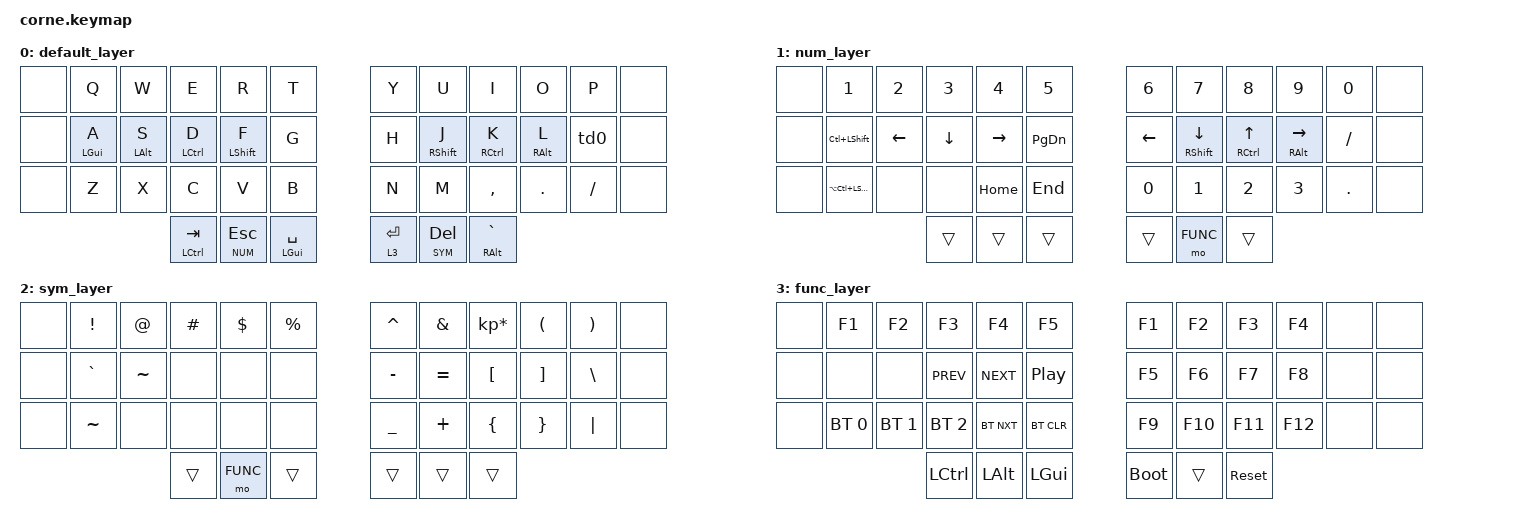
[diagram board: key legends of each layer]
/*
 * Copyright (c) 2020 The ZMK Contributors
 *
 * SPDX-License-Identifier: MIT
 */

#include <behaviors.dtsi>
#include <dt-bindings/zmk/bt.h>
#include <dt-bindings/zmk/keys.h>

// LAYERS

#define DEFAULT 0
#define NUM     1
#define SYM     2
#define FUNC    3

// MACROS

#define SUPER LC(LSHIFT)
#define SUPER2 LA(LC(LSHIFT))

&mt {
    tapping-term-ms = <200>;
    flavor = "tap-preferred";
};

/ {
    behaviors {
        hm: homerow_mods {
            compatible = "zmk,behavior-hold-tap";
            label = "HOMEROW_MODS";
            #binding-cells = <2>;
            tapping-term-ms = <200>;
            quick-tap-ms = <0>;
            flavor = "tap-preferred";
            bindings = <&kp>, <&kp>;
        };

        td0: tap_dance_0 {
            compatible = "zmk,behavior-tap-dance";
            label = "TAP_DANCE_0";
            #binding-cells = <0>;
            tapping-term-ms = <200>;
            bindings = <&hm RGUI SEMI>, <&kp SQT>;
        };

        td1: tap_dance_1 {
            compatible = "zmk,behavior-tap-dance";
            label = "TAP_DANCE_1";
            #binding-cells = <0>;
            tapping-term-ms = <200>;
            bindings = <&mt LCTRL TAB>, <&kp ESC>;
        };
    };

    combos {
        compatible = "zmk,combos";

        combo_cword {
            timeout-ms = <50>;
            key-positions = <16 19>;
            bindings = <&caps_word>;
        };

        combo_vimwq {
            timeout-ms = <50>;
            key-positions = <1 2>;
            bindings = <&vim_quit>;
        };
    };

    macros {
        vim_quit: vim_quit {
            label = "ZM_vim_quit";
            compatible = "zmk,behavior-macro";
            #binding-cells = <0>;
            bindings = <&macro_tap>, <&kp ESC &kp COLON &kp W &kp Q>;
        };
    };

    keymap {
        compatible = "zmk,keymap";

        default_layer {
            bindings = <
&none  &kp Q       &kp W       &kp E          &kp R         &kp T             &kp Y      &kp U         &kp I           &kp O       &kp P     &none
&none  &hm LGUI A  &hm LALT S  &hm LCTRL D    &hm LSHIFT F  &kp G             &kp H      &hm RSHIFT J  &hm RCTRL K     &hm RALT L  &td0      &none
&none  &kp Z       &kp X       &kp C          &kp V         &kp B             &kp N      &kp M         &kp COMMA       &kp DOT     &kp FSLH  &none
                               &mt LCTRL TAB  &lt NUM ESC   &mt LGUI SPACE    &lt 3 RET  &lt SYM DEL   &mt RALT GRAVE
            >;
        };

        num_layer {
            bindings = <
&none  &kp NUMBER_1  &kp NUMBER_2  &kp NUMBER_3  &kp NUMBER_4  &kp N5       &kp NUMBER_6    &kp N7                &kp N8        &kp N9               &kp N0     &none
&none  &kp SUPER     &kp LEFT      &kp DOWN      &kp RIGHT     &kp PG_DN    &kp LEFT_ARROW  &hm RSHFT DOWN_ARROW  &hm RCTRL UP  &hm RIGHT_ALT RIGHT  &kp SLASH  &none
&none  &kp SUPER2    &none         &none         &kp HOME      &kp END      &kp N0          &kp N1                &kp N2        &kp N3               &kp DOT    &none
                                   &trans        &trans        &trans       &trans          &mo FUNC              &trans
            >;
        };

        sym_layer {
            bindings = <
&none  &kp EXCL   &kp AT     &kp HASH  &kp DLLR  &kp PRCNT    &kp CARET  &kp AMPS   &kp KP_MULTIPLY  &kp LPAR  &kp RPAR  &none
&none  &kp GRAVE  &kp TILDE  &none     &none     &none        &kp MINUS  &kp EQUAL  &kp LBKT         &kp RBKT  &kp BSLH  &none
&none  &kp TILDE  &none      &none     &none     &none        &kp UNDER  &kp PLUS   &kp LBRC         &kp RBRC  &kp PIPE  &none
                             &trans    &mo FUNC  &trans       &trans     &trans     &trans
            >;
        };

        func_layer {
            bindings = <
&none  &kp F1        &kp F2        &kp F3        &kp F4        &kp F5              &kp F1       &kp F2   &kp F3      &kp F4   &none  &none
&none  &none         &none         &kp C_PREV    &kp C_NEXT    &kp C_PLAY_PAUSE    &kp F5       &kp F6   &kp F7      &kp F8   &none  &none
&none  &bt BT_SEL 0  &bt BT_SEL 1  &bt BT_SEL 2  &bt BT_NXT    &bt BT_CLR          &kp F9       &kp F10  &kp F11     &kp F12  &none  &none
                                   &kp LCTRL     &kp LEFT_ALT  &kp LEFT_GUI        &bootloader  &trans   &sys_reset
            >;
        };
    };
};
